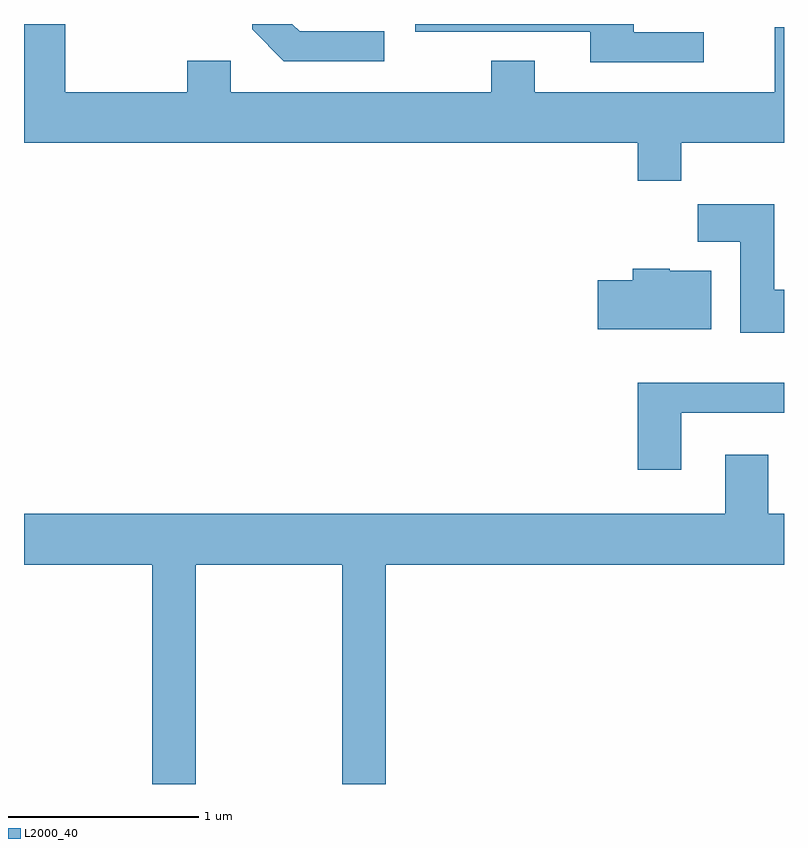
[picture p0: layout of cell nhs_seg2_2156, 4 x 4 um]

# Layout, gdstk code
import gdstk
lib = gdstk.Library(unit=1e-6, precision=1e-09)
def P(c, l, *ps):  # polygons
    for p in ps: c.add(gdstk.Polygon(p, *l))
L2000_40 = (2000, 40)

nhs_seg2_2156 = lib.new_cell('nhs_seg2_2156')
P(nhs_seg2_2156, L2000_40, [(251.069,1077.176),(251.611,1077.176),(251.611,1077.784),(251.561,1077.784),(251.561,1077.444),(250.299,1077.444),(250.299,1077.609),(250.071,1077.609),(250.071,1077.444),(248.699,1077.444),(248.699,1077.609),(248.471,1077.609),(248.471,1077.444),(247.829,1077.444),(247.829,1077.802),(247.611,1077.802),(247.611,1077.176),(250.841,1077.176),(250.841,1076.976),(251.069,1076.976)],
  [(251.188,1077.759),(250.819,1077.759),(250.819,1077.802),(249.671,1077.802),(249.671,1077.761),(250.591,1077.761),(250.591,1077.601),(251.188,1077.601)],
  [(249.508,1077.764),(249.062,1077.764),(249.024,1077.802),(248.811,1077.802),(248.811,1077.774),(248.979,1077.606),(249.508,1077.606)],
  [(251.611,1076.404),(251.559,1076.404),(251.559,1076.854),(251.156,1076.854),(251.156,1076.656),(251.381,1076.656),(251.381,1076.176),(251.611,1076.176)],
  [(251.229,1076.504),(251.01,1076.504),(251.01,1076.514),(250.816,1076.514),(250.816,1076.454),(250.631,1076.454),(250.631,1076.196),(251.229,1076.196)],
  [(251.069,1075.756),(251.611,1075.756),(251.611,1075.914),(250.841,1075.914),(250.841,1075.456),(251.069,1075.456)],
  [(248.514,1074.956),(249.286,1074.956),(249.286,1073.802),(249.514,1073.802),(249.514,1074.956),(251.611,1074.956),(251.611,1075.224),(251.529,1075.224),(251.529,1075.534),(251.301,1075.534),(251.301,1075.224),(247.611,1075.224),(247.611,1074.956),(248.286,1074.956),(248.286,1073.802),(248.514,1073.802)])

lib.write_gds('nhs_seg2_2156.gds')
